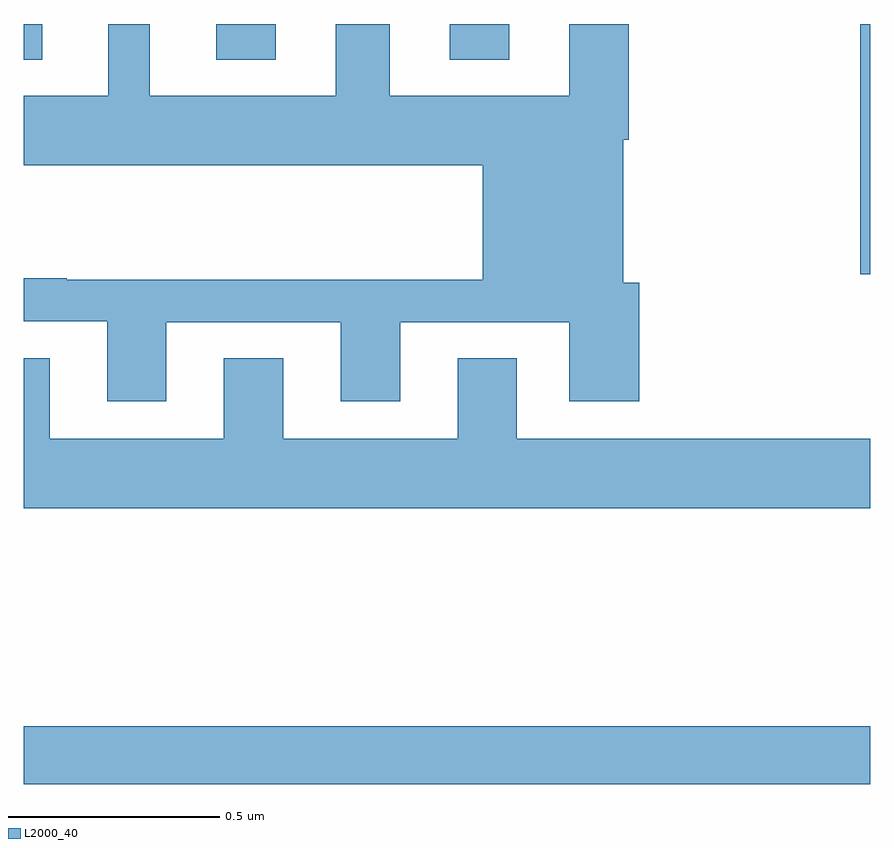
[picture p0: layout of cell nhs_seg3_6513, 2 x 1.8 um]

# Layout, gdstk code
import gdstk
lib = gdstk.Library(unit=1e-6, precision=1e-09)
def R(c, l, rs):  # rectangles x0, y0, x1, y1
    for r in rs: c.add(gdstk.rectangle(r[:2], r[2:], *l))
def P(c, l, *ps):  # polygons
    for p in ps: c.add(gdstk.Polygon(p, *l))
L2000_40 = (2000, 40)

nhs_seg3_6513 = lib.new_cell('nhs_seg3_6513')
R(nhs_seg3_6513, L2000_40, [(192,693.604,194,693.74), (193.976,694.809,194,695.4), (192,695.315,192.043,695.4), (192.455,695.315,192.595,695.4), (193.007,695.315,193.147,695.4)])
P(nhs_seg3_6513, L2000_40, [(192.337,694.695),(192.749,694.695),(192.749,694.509),(192.889,694.509),(192.889,694.695),(193.289,694.695),(193.289,694.509),(193.454,694.509),(193.454,694.788),(193.417,694.788),(193.417,695.126),(193.43,695.126),(193.43,695.4),(193.289,695.4),(193.289,695.23),(192.865,695.23),(192.865,695.4),(192.737,695.4),(192.737,695.23),(192.298,695.23),(192.298,695.4),(192.2,695.4),(192.2,695.23),(192,695.23),(192,695.066),(193.085,695.066),(193.085,694.796),(192.101,694.796),(192.101,694.799),(192,694.799),(192,694.698),(192.197,694.698),(192.197,694.509),(192.337,694.509)],
  [(194,694.42),(193.165,694.42),(193.165,694.61),(193.025,694.61),(193.025,694.42),(192.613,694.42),(192.613,694.61),(192.473,694.61),(192.473,694.42),(192.061,694.42),(192.061,694.61),(192,694.61),(192,694.256),(194,694.256)])

lib.write_gds('nhs_seg3_6513.gds')
